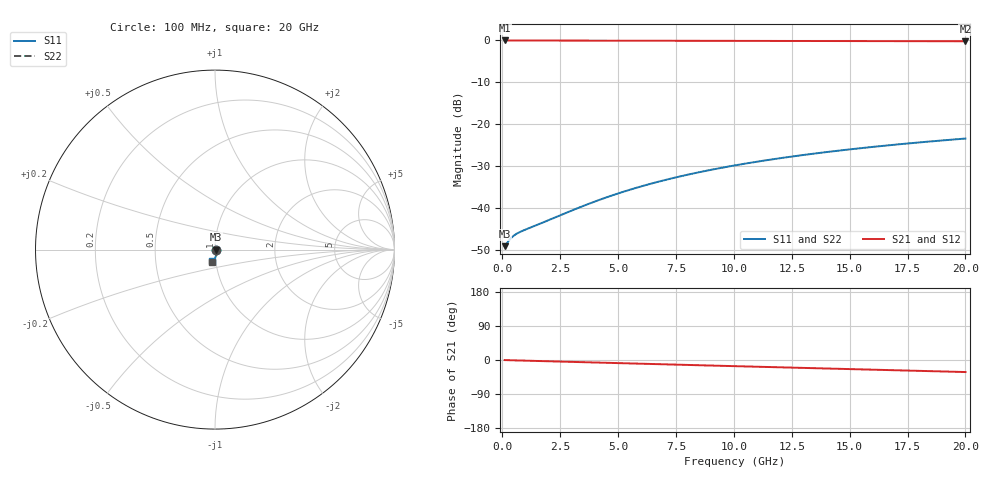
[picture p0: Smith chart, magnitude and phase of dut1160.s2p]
! Touchstone file exported from HFSS 2026.1.0
!  File:  C:/ffzhzh/LocalFiles/Ansys_Project_Files/temp_train_BSMRDL_1160_1783175793_51560.aedt
!  Generated:  10:37:36 PM Jul  4, 2026
!  Design:  BSMRDL
!  Project:  temp_train_BSMRDL_1160_1783175793_51560
! Variables:
!  h_bsmrdl = 4.69um
!  h_ox = 20um
!  h_rdl = 5um
!  h_sub = 80um
!  h_tmrdl = 5um
!  h_tsv = 80um
!  h_via = 3um
!  l_bsmrdl = 574.32um
!  l_sub = 974.32um
!  l_tmrdl = 200um
!  m_sub = 200um
!  pitch = 15.74um
!  r_tsv = 6um
!  s_tmrdl = 10um
!  w_bsmrdl = 12.8um
!  w_sub = 500um
!  w_tmrdl = 12um
!  x_tsv_center1 = 206um
!  x_tsv_center2 = 793.12um
!  x_tsv_center3 = 1005.12um
!  x_tsv_center4 = 1592.24um
!  x_tsv_center5 = 1804.24um
!  x_tsv_center6 = 2391.36um
# GHz S MA R 50.000000
! Terminal data exported
! Port[1] = BSM_RDL1_1_T1
! Port[2] = BSM_RDL1_1_T2
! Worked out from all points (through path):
!   200 points, 100 MHz to 20 GHz, reference 50 ohm
!   highest |S21| = -0.03 dB at 100 MHz (marker M1); lowest = -0.2 dB at 20 GHz (marker M2)
!   group delay of S21, straight-line fit = 4.39 ps
!   lowest |S11| = -49.0 dB at 100 MHz (marker M3), VSWR 1.01, Z = 50.4 + j0.0294 ohm
!   |S11| at or under -10 dB: start of sweep to end of sweep
!   |S22| runs from -49.0 to -23.3 dB; largest |S21 - S12| = 3.2e-15
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0.1  0.003552 4.7  0.9965 -0.2  0.9965 -0.2  0.003552 4.7
! Gamma 0 0 0 0
! Port Impedance 50 0 50 0
0.3  0.004201 5.8  0.9958 -0.6  0.9958 -0.6  0.004201 5.8
0.4  0.004501 3.5  0.9955 -0.7  0.9955 -0.7  0.004502 3.5
0.5  0.004749 0.6  0.9953 -0.9  0.9953 -0.9  0.00475 0.6
0.6  0.004956 -2.4  0.995 -1.1  0.995 -1.1  0.004957 -2.4
0.7  0.005135 -5.3  0.9949 -1.2  0.9949 -1.2  0.005136 -5.3
1  0.005595 -13.3  0.9945 -1.7  0.9945 -1.7  0.005598 -13.3
3.5  0.01071 -48.3  0.992 -5.8  0.992 -5.8  0.01074 -48.2
4.3  0.01294 -54.0  0.9911 -7.1  0.9911 -7.1  0.01298 -53.9
5.1  0.01537 -58.7  0.99 -8.4  0.99 -8.4  0.01542 -58.5
5.9  0.01795 -62.7  0.989 -9.7  0.989 -9.7  0.01801 -62.5
6.8  0.02098 -66.8  0.9879 -11.1  0.9879 -11.1  0.02106 -66.5
7.6  0.02376 -70.0  0.9869 -12.4  0.9869 -12.4  0.02384 -69.7
8.4  0.02659 -73.0  0.9859 -13.7  0.9859 -13.7  0.02669 -72.7
9.2  0.02945 -75.8  0.985 -14.9  0.985 -14.9  0.02956 -75.5
10.1  0.0327 -78.8  0.984 -16.4  0.984 -16.4  0.03283 -78.4
11.7  0.0385 -83.6  0.9824 -18.9  0.9824 -18.9  0.03866 -83.1
13.4  0.04464 -88.2  0.9807 -21.5  0.9807 -21.5  0.04484 -87.7
15  0.05038 -92.2  0.9792 -24.0  0.9792 -24.0  0.05061 -91.7
16.7  0.0564 -96.2  0.9777 -26.7  0.9777 -26.7  0.05666 -95.6
18.3  0.06197 -99.8  0.9762 -29.1  0.9762 -29.1  0.06227 -99.1
20  0.06777 -103.5  0.9747 -31.8  0.9747 -31.8  0.0681 -102.7
